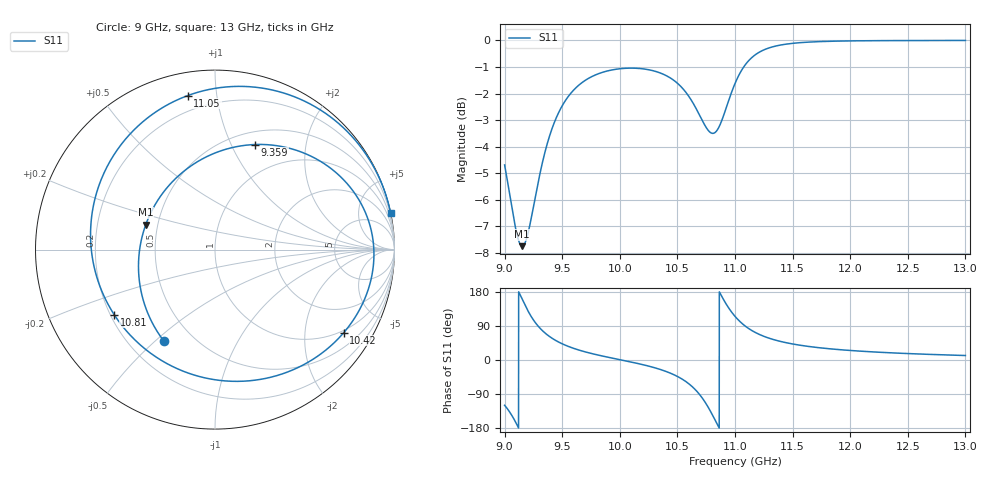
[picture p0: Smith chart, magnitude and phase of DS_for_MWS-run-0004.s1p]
! TOUCHSTONE file generated by CST DESIGN STUDIO
! Date and time: Tue Feb  4 14:37:01 2025
! Project name: C:\Work\MatlabApps\UnitCellOptimizationMatlab\CST\unitcell.cst
! Tree item: Tasks\Sweep1\SPara1\S-Parameters
! Header version: 2024
! Port assignment regex: !\s*Touchstone port\s*([0-9]+)\s*=\s*(CST MWS port|CST DES external port|CST DES block port)\s*(.+)\s* \(\"(.*)\"\)(\s*mode\s*([0-9]+))?.*
! Touchstone port assignment:
! Touchstone port 1 = CST DES external port 1 ("")
# GHz S MA R 50
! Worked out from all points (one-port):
!   4001 points, 9 GHz to 13 GHz, reference 50 ohm
!   lowest |S11| = -7.7 dB at 9.153 GHz (marker M1), VSWR 2.39, Z = 21.4 + j7.2 ohm
!   |S11| at or under -10 dB: nowhere
!   S11 on the Smith chart (normalised r, x): 9 GHz: 0.35, -0.53; 9.359 GHz: 0.64, +1.24; 10.42 GHz: 0.93, -3.15; 10.81 GHz: 0.22, -0.28; 11.05 GHz: 0.12, +0.83; 13 GHz: 0.01, +9.65
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9  0.583 -119.4
9.083  0.4575 -156.9
9.153  0.41 160.1
9.254  0.4911 104.0
9.359  0.6265 69.2
9.5  0.7533 42.7
9.711  0.844 20.5
10  0.8844 0.8
10.241  0.8814 -15.4
10.423  0.8538 -32.8
10.5  0.8307 -43.4
10.598  0.7854 -62.4
10.688  0.7263 -89.4
10.75  0.6856 -115.9
10.808  0.6684 -147.2
10.852  0.6815 -173.1
10.895  0.7161 162.4
10.95  0.7762 135.1
11  0.8296 115.2
11.048  0.8717 100.0
11.142  0.9266 78.5
11.24  0.9574 63.8
11.356  0.9761 52.0
11.5  0.9873 42.3
11.711  0.9943 33.0
12  0.9978 25.1
12.5  0.9994 17.0
13  0.9997 11.8
